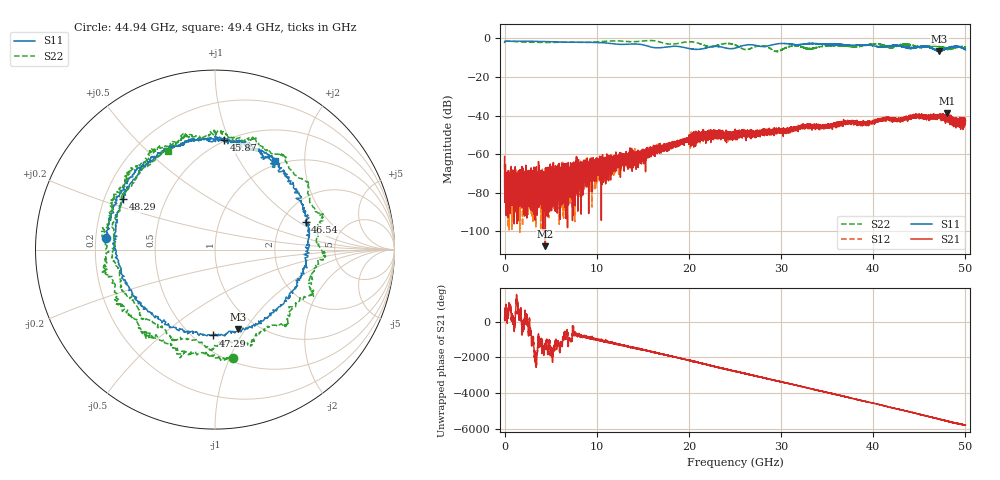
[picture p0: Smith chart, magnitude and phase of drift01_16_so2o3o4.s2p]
!Created with skrf (http://scikit-rf.org).
# Hz S RI R 50.0
!freq ReS11 ImS11 ReS21 ImS21 ReS12 ImS12 ReS22 ImS22
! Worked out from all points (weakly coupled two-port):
!   10001 points, 300 kHz to 50 GHz, reference 50 ohm
!   highest |S21| = -38.87 dB at 47.98 GHz (marker M1); lowest = -107.7 dB at 4.415 GHz (marker M2)
!   lowest |S11| = -6.7 dB at 47.17 GHz (marker M3), VSWR 2.71, Z = 41.4 - j46.4 ohm
!   |S11| at or under -10 dB: nowhere
!   |S22| runs from -6.8 to -1.0 dB; largest |S21 - S12| = 0.0036
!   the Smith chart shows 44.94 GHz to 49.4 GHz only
!   S11 on the Smith chart (normalised r, x): 44.94 GHz: 0.24, +0.05; 45.87 GHz: 0.49, +0.96; 46.54 GHz: 2.68, +1.15; 47.29 GHz: 0.62, -0.76; 48.29 GHz: 0.28, +0.24; 49.4 GHz: 0.94, +1.44
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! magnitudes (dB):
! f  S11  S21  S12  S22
! 300 kHz  -2.1  -61.2  -64.8  -1.3
! 255.3 MHz  -1.4  -72.9  -84.9  -1.4
! 4.415 GHz  -1.6  -107.7  -73.9  -2.1
! 8.335 GHz  -1.9  -66.2  -76.6  -2.1
! 16.67 GHz  -4.9  -55.9  -57.3  -1.6
! 21.66 GHz  -5.2  -52.6  -50.1  -3.6
! 25 GHz  -5.0  -49.4  -49.7  -3.4
! 26.18 GHz  -3.4  -48.7  -49.3  -5.8
! 28.09 GHz  -4.3  -48.2  -48.6  -3.8
! 29.52 GHz  -2.9  -47.4  -47.7  -6.7
! 31.27 GHz  -3.1  -46.9  -46.5  -4.0
! 33.34 GHz  -2.6  -44.7  -45.8  -5.5
! 41.67 GHz  -3.9  -41.5  -42.1  -4.5
! 44.94 GHz  -4.3  -39.9  -40.7  -4.3
! 45.87 GHz  -4.2  -40.5  -40.5  -4.3
! 46.54 GHz  -5.6  -41.3  -40.6  -3.9
! 47.17 GHz  -6.7  -40.4  -40.0  -4.2
! 47.29 GHz  -6.4  -39.1  -41.2  -4.1
! 47.98 GHz  -5.1  -38.9  -41.8  -5.1
! 48.29 GHz  -4.6  -41.5  -41.4  -5.0
! 49.4 GHz  -4.5  -41.9  -43.4  -4.3
! 50 GHz  -5.7  -42.8  -42.1  -4.3
